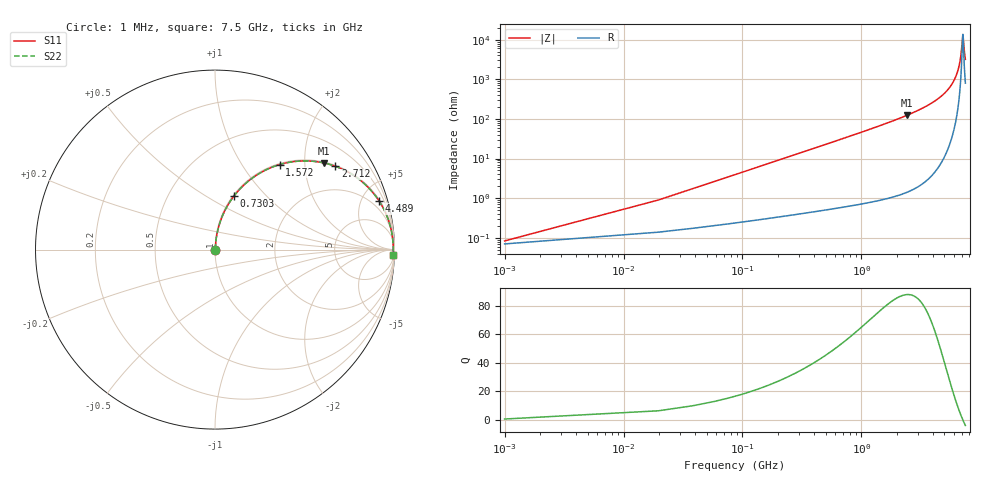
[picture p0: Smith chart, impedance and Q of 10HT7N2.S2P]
! Coilcraft 1008HT-7N2 Chip Inductor
! 16 July 2002
# MHZ S MA R 50
!Freq  MagS11  AngS11  MagS21  AngS21  MagS12  AngS12  MagS22  AngS22
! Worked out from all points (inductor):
!   403 points, 1 MHz to 7.5 GHz, reference 50 ohm
!   read as one part in series: L = 7.2 nH near 38.4 MHz
!   highest Q = 87.9 at 2.432 GHz (marker M1), where L = 8.14 nH
!   self-resonance near 7.126 GHz
!   S11 on the Smith chart (normalised r, x): 1 MHz: 1.00, +0.00; 730.3 MHz: 1.01, +0.67; 1.572 GHz: 1.02, +1.49; 2.712 GHz: 1.03, +2.87; 4.489 GHz: 1.13, +6.71; 7.5 GHz: 17, -62
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1  0.0008329 32.8  0.9993 -0.0  0.9993 -0.0  0.0008329 32.8
57.1  0.02585 84.1  0.9977 -1.5  0.9977 -1.5  0.02585 84.1
94.5  0.04268 84.3  0.9967 -2.4  0.9967 -2.4  0.04268 84.3
150.6  0.06787 83.6  0.9948 -3.9  0.9948 -3.9  0.06787 83.6
244.1  0.1096 81.8  0.9904 -6.3  0.9904 -6.3  0.1096 81.8
375  0.167 78.9  0.9816 -9.6  0.9816 -9.6  0.167 78.9
730.3  0.315 70.6  0.9434 -18.4  0.9434 -18.4  0.315 70.6
1253.9  0.5021 59.1  0.8579 -30.1  0.8579 -30.1  0.5021 59.1
1571.8  0.595 52.8  0.7962 -36.5  0.7962 -36.5  0.595 52.8
2432  0.7753 38.5  0.6229 -50.8  0.6229 -50.8  0.7753 38.5
2506.8  0.7868 37.5  0.6083 -51.9  0.6083 -51.9  0.7868 37.5
2712.5  0.8159 34.7  0.5689 -54.7  0.5689 -54.7  0.8159 34.7
3759.7  0.9158 22.9  0.3892 -66.3  0.3892 -66.3  0.9158 22.9
4489  0.9535 16.5  0.284 -72.4  0.284 -72.4  0.9535 16.5
5012.6  0.9707 12.5  0.2172 -76.0  0.2172 -76.0  0.9707 12.5
6265.5  0.9904 4.6  0.0807 -80.9  0.0807 -80.9  0.9904 4.6
6789.1  0.9926 1.8  0.03186 -75.7  0.03186 -75.7  0.9926 1.8
6938.7  0.9928 1.0  0.01907 -67.2  0.01907 -67.2  0.9928 1.0
7125.7  0.9927 0.1  0.007423 -10.6  0.007423 -10.6  0.9927 0.1
7181.8  0.9926 -0.2  0.008131 24.9  0.008131 24.9  0.9926 -0.2
7350.1  0.9923 -1.0  0.01923 65.8  0.01923 65.8  0.9923 -1.0
7500  0.9918 -1.7  0.03105 73.8  0.03105 73.8  0.9918 -1.7
